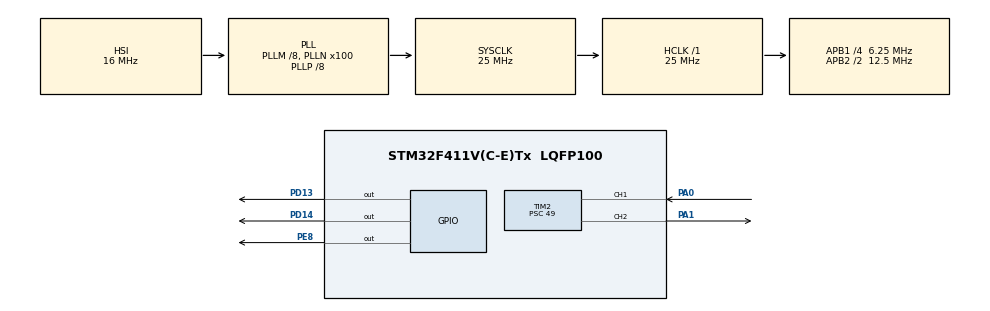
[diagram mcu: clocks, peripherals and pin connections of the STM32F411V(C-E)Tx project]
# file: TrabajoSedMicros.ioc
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Mcu.Family=STM32F4
Mcu.Name=STM32F411V(C-E)Tx
Mcu.Package=LQFP100
NVIC.PriorityGroup=NVIC_PRIORITYGROUP_0
NVIC.TIM2_IRQn=true\:0\:0\:false\:false\:true\:true\:true\:true
PA0-WKUP.Signal=S_TIM2_CH1_ETR
PA1.Signal=S_TIM2_CH2
PA13.Mode=Serial_Wire
PA13.Signal=SYS_JTMS-SWDIO
PA14.Mode=Serial_Wire
PA14.Signal=SYS_JTCK-SWCLK
PD13.Signal=GPIO_Output
PD14.Signal=GPIO_Output
PE8.Signal=GPIO_Output
ProjectManager.HeapSize=0x200
ProjectManager.StackSize=0x400
ProjectManager.TargetToolchain=STM32CubeIDE
RCC.48MHZClocksFreq_Value=25000000
RCC.AHBFreq_Value=25000000
RCC.APB1CLKDivider=RCC_HCLK_DIV4
RCC.APB1Freq_Value=6250000
RCC.APB1TimFreq_Value=12500000
RCC.APB2CLKDivider=RCC_HCLK_DIV2
RCC.APB2Freq_Value=12500000
RCC.APB2TimFreq_Value=25000000
RCC.CortexFreq_Value=25000000
RCC.HCLKFreq_Value=25000000
RCC.HSE_VALUE=8000000
RCC.HSI_VALUE=16000000
RCC.LSE_VALUE=32768
RCC.PLLI2SM=5
RCC.PLLI2SN=200
RCC.PLLM=8
RCC.PLLN=100
RCC.PLLP=RCC_PLLP_DIV8
RCC.PLLQ=8
RCC.SYSCLKFreq_VALUE=25000000
RCC.SYSCLKSource=RCC_SYSCLKSOURCE_PLLCLK
RCC.VCOOutputFreq_Value=200000000
SH.S_TIM2_CH1_ETR.0=TIM2_CH1,Input_Capture1_from_TI1
SH.S_TIM2_CH2.0=TIM2_CH2,PWM Generation2 CH2
TIM2.Channel-Input_Capture1_from_TI1=TIM_CHANNEL_1
TIM2.Channel-PWM\ Generation2\ CH2=TIM_CHANNEL_2
TIM2.Period=0xffff
TIM2.Prescaler=49
board=STM32F411E-DISCO

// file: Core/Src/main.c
/* USER CODE BEGIN Header */
/**
  ******************************************************************************
  * @file           : main.c
  * @brief          : Main program body
  ******************************************************************************
  * @attention
  *
  * Copyright (c) 2024 STMicroelectronics.
  * All rights reserved.
  *
  * This software is licensed under terms that can be found in the LICENSE file
  * in the root directory of this software component.
  * If no LICENSE file comes with this software, it is provided AS-IS.
  *
  ******************************************************************************
  */
/* USER CODE END Header */
#include "main.h"

/* USER CODE BEGIN PD */
//#define DistanciaReferencia= 10;//10 cm
/* USER CODE END PD */

TIM_HandleTypeDef htim2;

void SystemClock_Config(void);
static void MX_GPIO_Init(void);
static void MX_TIM2_Init(void);

/* USER CODE BEGIN 0 */

void delay (uint16_t time)
{
	__HAL_TIM_SET_COUNTER(&htim2, 0);
	while (__HAL_TIM_GET_COUNTER (&htim2) < time);
}

uint32_t IC_Val1 = 0;
uint32_t IC_Val2 = 0;
uint32_t Difference = 0;
uint8_t Is_First_Captured = 0;  // primer valor
uint8_t Distance  = 0;

void HAL_TIM_IC_CaptureCallback(TIM_HandleTypeDef *htim2)
{
    if (htim2->Channel == HAL_TIM_ACTIVE_CHANNEL_1)  //  interrupción es el canal 1 (canal configurado TIM2)
    {
        if (Is_First_Captured == 0) // Si el primer valor no ha sido capturado
        {
            IC_Val1 = HAL_TIM_ReadCapturedValue(htim2, TIM_CHANNEL_1); // Leer el primer valor capturado
            Is_First_Captured = 1;  // Marcar como el primer valor capturado
            __HAL_TIM_SET_CAPTUREPOLARITY(htim2, TIM_CHANNEL_1, TIM_INPUTCHANNELPOLARITY_FALLING); // Cambiar la polaridad al flanco descendente
        }
        else if (Is_First_Captured == 1)   // Si el primer valor ya ha sido capturado
        {
            IC_Val2 = HAL_TIM_ReadCapturedValue(htim2, TIM_CHANNEL_1);  // Leer el segundo valor capturado
            __HAL_TIM_SET_COUNTER(htim2, 0);  // Reiniciar el contador

            if (IC_Val2 > IC_Val1)
            {
                Difference = IC_Val2 - IC_Val1; // Calcular la diferencia entre los valores capturados
            }
            else if (IC_Val1 > IC_Val2)
            {
                Difference = (0xffff - IC_Val1) + IC_Val2; // Calcular la diferencia teniendo en cuenta el desbordamiento del contador
            }

            Distance = Difference * .034 / 2; // Calcular la distancia basándose en la diferencia de tiempo

            if (Distance <= 50)
            {
                HAL_GPIO_WritePin(GPIOD, GPIO_PIN_13, GPIO_PIN_SET); // Encender LED en verde
            }
            else
            {
                HAL_GPIO_WritePin(GPIOD, GPIO_PIN_13, GPIO_PIN_RESET);// Apagar el LED
            }

            Is_First_Captured = 0; // Restablecer el estado para la próxima medición

            // Establecer la polaridad para el flanco ascendente
            __HAL_TIM_SET_CAPTUREPOLARITY(htim2, TIM_CHANNEL_1, TIM_INPUTCHANNELPOLARITY_RISING);
            __HAL_TIM_DISABLE_IT(&htim2, TIM_IT_CC1); // Deshabilitar la interrupción del canal 1
        }
    }
}

//Enviar el pulso de disparo al sensor ultrasónico
void HCSR04_Read (void)
{
	HAL_GPIO_WritePin(GPIOE, GPIO_PIN_8, GPIO_PIN_SET); //Enviar pulso: ponemos en 1 el TRIG
	delay(10);  // espera 10 us
	HAL_GPIO_WritePin(GPIOD, GPIO_PIN_14, GPIO_PIN_SET);
	delay(10);
	HAL_GPIO_WritePin(GPIOE, GPIO_PIN_8, GPIO_PIN_RESET);//Dejamos de enviar el pulso: ponemos a 0 el TRIG
	delay(10);
	HAL_GPIO_WritePin(GPIOE, GPIO_PIN_8, GPIO_PIN_RESET);
	__HAL_TIM_ENABLE_IT(&htim2, TIM_IT_CC1);// Habilitamos la interrupción del timer
}
/* USER CODE END 0 */

int main(void)
{

  /* MCU Configuration--------------------------------------------------------*/

  /* Reset of all peripherals, Initializes the Flash interface and the Systick. */
  HAL_Init();

  /* Configure the system clock */
  SystemClock_Config();

  /* Initialize all configured peripherals */
  MX_GPIO_Init();
  MX_TIM2_Init();
  /* USER CODE BEGIN 2 */
  HAL_TIM_IC_Start_IT(&htim2, TIM_CHANNEL_1); //Iniciar y habilitar interrupciones
  /* USER CODE END 2 */

  /* Infinite loop */
  while (1)
  {

    /* USER CODE BEGIN 3 */
	  HCSR04_Read();
	  delay(100);
  }
  /* USER CODE END 3 */
}

void SystemClock_Config(void)
{
  RCC_OscInitTypeDef RCC_OscInitStruct = {0};
  RCC_ClkInitTypeDef RCC_ClkInitStruct = {0};

  /** Configure the main internal regulator output voltage
  */
  __HAL_RCC_PWR_CLK_ENABLE();
  __HAL_PWR_VOLTAGESCALING_CONFIG(PWR_REGULATOR_VOLTAGE_SCALE1);

  /** Initializes the RCC Oscillators according to the specified parameters
  * in the RCC_OscInitTypeDef structure.
  */
  RCC_OscInitStruct.OscillatorType = RCC_OSCILLATORTYPE_HSI;
  RCC_OscInitStruct.HSIState = RCC_HSI_ON;
  RCC_OscInitStruct.HSICalibrationValue = RCC_HSICALIBRATION_DEFAULT;
  RCC_OscInitStruct.PLL.PLLState = RCC_PLL_ON;
  RCC_OscInitStruct.PLL.PLLSource = RCC_PLLSOURCE_HSI;
  RCC_OscInitStruct.PLL.PLLM = 8;
  RCC_OscInitStruct.PLL.PLLN = 100;
  RCC_OscInitStruct.PLL.PLLP = RCC_PLLP_DIV8;
  RCC_OscInitStruct.PLL.PLLQ = 8;
  if (HAL_RCC_OscConfig(&RCC_OscInitStruct) != HAL_OK)
  {
    Error_Handler();
  }

  /** Initializes the CPU, AHB and APB buses clocks
  */
  RCC_ClkInitStruct.ClockType = RCC_CLOCKTYPE_HCLK|RCC_CLOCKTYPE_SYSCLK
                              |RCC_CLOCKTYPE_PCLK1|RCC_CLOCKTYPE_PCLK2;
  RCC_ClkInitStruct.SYSCLKSource = RCC_SYSCLKSOURCE_PLLCLK;
  RCC_ClkInitStruct.AHBCLKDivider = RCC_SYSCLK_DIV1;
  RCC_ClkInitStruct.APB1CLKDivider = RCC_HCLK_DIV4;
  RCC_ClkInitStruct.APB2CLKDivider = RCC_HCLK_DIV2;

  if (HAL_RCC_ClockConfig(&RCC_ClkInitStruct, FLASH_LATENCY_0) != HAL_OK)
  {
    Error_Handler();
  }
}

static void MX_TIM2_Init(void)
{

  TIM_MasterConfigTypeDef sMasterConfig = {0};
  TIM_IC_InitTypeDef sConfigIC = {0};
  TIM_OC_InitTypeDef sConfigOC = {0};

  htim2.Instance = TIM2;
  htim2.Init.Prescaler = 49;
  htim2.Init.CounterMode = TIM_COUNTERMODE_UP;
  htim2.Init.Period = 0xffff;
  htim2.Init.ClockDivision = TIM_CLOCKDIVISION_DIV1;
  htim2.Init.AutoReloadPreload = TIM_AUTORELOAD_PRELOAD_DISABLE;
  if (HAL_TIM_IC_Init(&htim2) != HAL_OK)
  {
    Error_Handler();
  }
  if (HAL_TIM_PWM_Init(&htim2) != HAL_OK)
  {
    Error_Handler();
  }
  sMasterConfig.MasterOutputTrigger = TIM_TRGO_RESET;
  sMasterConfig.MasterSlaveMode = TIM_MASTERSLAVEMODE_DISABLE;
  if (HAL_TIMEx_MasterConfigSynchronization(&htim2, &sMasterConfig) != HAL_OK)
  {
    Error_Handler();
  }
  sConfigIC.ICPolarity = TIM_INPUTCHANNELPOLARITY_RISING;
  sConfigIC.ICSelection = TIM_ICSELECTION_DIRECTTI;
  sConfigIC.ICPrescaler = TIM_ICPSC_DIV1;
  sConfigIC.ICFilter = 0;
  if (HAL_TIM_IC_ConfigChannel(&htim2, &sConfigIC, TIM_CHANNEL_1) != HAL_OK)
  {
    Error_Handler();
  }
  sConfigOC.OCMode = TIM_OCMODE_PWM1;
  sConfigOC.Pulse = 0;
  sConfigOC.OCPolarity = TIM_OCPOLARITY_HIGH;
  sConfigOC.OCFastMode = TIM_OCFAST_DISABLE;
  if (HAL_TIM_PWM_ConfigChannel(&htim2, &sConfigOC, TIM_CHANNEL_2) != HAL_OK)
  {
    Error_Handler();
  }
  HAL_TIM_MspPostInit(&htim2);

}

static void MX_GPIO_Init(void)
{
  GPIO_InitTypeDef GPIO_InitStruct = {0};

  /* GPIO Ports Clock Enable */
  __HAL_RCC_GPIOA_CLK_ENABLE();
  __HAL_RCC_GPIOE_CLK_ENABLE();
  __HAL_RCC_GPIOD_CLK_ENABLE();

  /*Configure GPIO pin Output Level */
  HAL_GPIO_WritePin(GPIOE, GPIO_PIN_8, GPIO_PIN_RESET);

  /*Configure GPIO pin Output Level */
  HAL_GPIO_WritePin(GPIOD, GPIO_PIN_13|GPIO_PIN_14, GPIO_PIN_RESET);

  /*Configure GPIO pin : PE8 */
  GPIO_InitStruct.Pin = GPIO_PIN_8;
  GPIO_InitStruct.Mode = GPIO_MODE_OUTPUT_PP;
  GPIO_InitStruct.Pull = GPIO_NOPULL;
  GPIO_InitStruct.Speed = GPIO_SPEED_FREQ_LOW;
  HAL_GPIO_Init(GPIOE, &GPIO_InitStruct);

  /*Configure GPIO pins : PD13 PD14 */
  GPIO_InitStruct.Pin = GPIO_PIN_13|GPIO_PIN_14;
  GPIO_InitStruct.Mode = GPIO_MODE_OUTPUT_PP;
  GPIO_InitStruct.Pull = GPIO_NOPULL;
  GPIO_InitStruct.Speed = GPIO_SPEED_FREQ_LOW;
  HAL_GPIO_Init(GPIOD, &GPIO_InitStruct);

}

void Error_Handler(void)
{
  __disable_irq();
  while (1)
  {
  }
}
